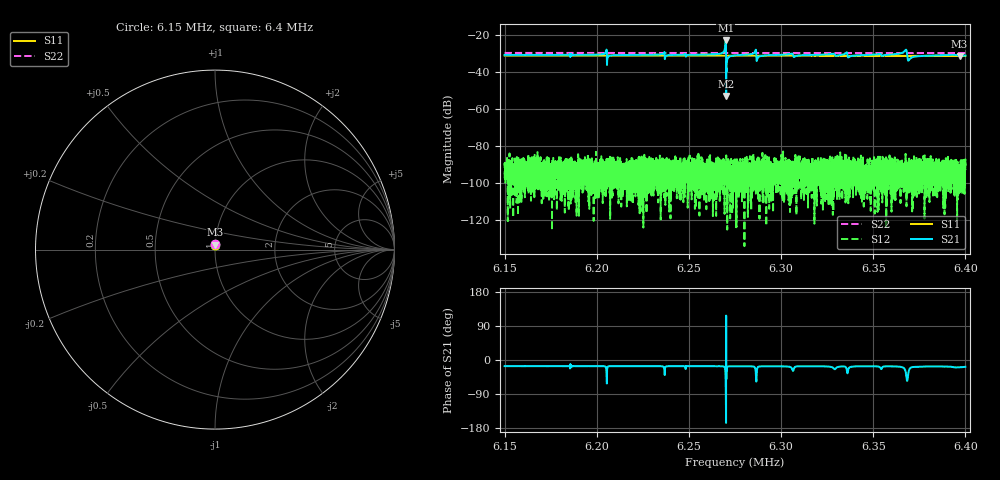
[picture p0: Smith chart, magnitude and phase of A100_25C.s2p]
!CETC41,AV3656A,ZGL00048,1.3.2
!Calibration ON (Full Solt 2-Port(Omit Isolation))
!Measurements: S11 S21 S12 S22
!2025-04-18 21:55
# Hz  S  dB  R 50.000
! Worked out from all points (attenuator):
!   6401 points, 6.15 MHz to 6.4 MHz, reference 50 ohm
!   highest |S21| = -22.85 dB at 6.27 MHz (marker M1); lowest = -52.9 dB at 6.2702 MHz (marker M2)
!   lowest |S11| = -31.2 dB at 6.3968 MHz (marker M3), VSWR 1.06, Z = 49.9 + j2.75 ohm
!   |S11| at or under -10 dB: start of sweep to end of sweep
!   |S22| runs from -29.7 to -29.6 dB; largest |S21 - S12| = 0.072
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6150000  -30.99 84.6  -30.68 -16.2  -90.38 132.2  -29.56 89.4
6191680  -31.02 85.5  -30.60 -16.3  -88.84 116.6  -29.58 90.2
6204180  -31.02 85.9  -30.03 -16.7  -95.25 0.5  -29.59 90.5
6206719  -31.03 85.9  -31.19 -16.6  -97.19 15.7  -29.57 90.6
6233359  -31.05 86.6  -30.48 -16.3  -105.23 97.1  -29.60 91.1
6264570  -31.09 87.2  -30.27 -16.4  -99.45 -178.7  -29.60 91.8
6268867  -31.08 87.3  -29.01 -17.2  -90.52 -166.9  -29.61 91.9
6269961  -31.07 87.4  -22.85 -61.6  -91.36 -18.9  -29.60 91.9
6270195  -31.08 87.4  -52.85 117.2  -93.09 -160.9  -29.60 91.9
6271406  -31.08 87.4  -32.00 -17.1  -93.25 145.4  -29.60 91.9
6275000  -31.08 87.5  -30.90 -16.5  -86.24 126.1  -29.61 92.0
6285273  -31.09 87.7  -29.67 -17.6  -87.46 117.9  -29.61 92.2
6287852  -31.09 87.8  -31.69 -17.6  -95.22 -7.5  -29.61 92.3
6305039  -31.12 88.3  -30.14 -18.5  -97.14 -11.7  -29.62 92.6
6307813  -31.10 88.3  -31.36 -17.8  -87.41 119.5  -29.62 92.7
6316680  -31.13 88.5  -30.68 -16.6  -96.35 -99.0  -29.62 92.8
6358359  -31.16 89.4  -30.55 -16.8  -92.27 -155.2  -29.63 93.7
6367070  -31.17 89.6  -28.53 -23.8  -98.06 -146.7  -29.63 93.8
6369805  -31.16 89.7  -32.88 -22.8  -87.95 -33.5  -29.63 93.9
6374492  -31.17 89.8  -31.35 -17.9  -97.71 -177.0  -29.64 94.0
6396836  -31.20 90.4  -30.91 -19.2  -94.73 18.2  -29.64 94.4
6400000  -31.19 90.4  -30.95 -17.9  -90.69 33.8  -29.64 94.5
